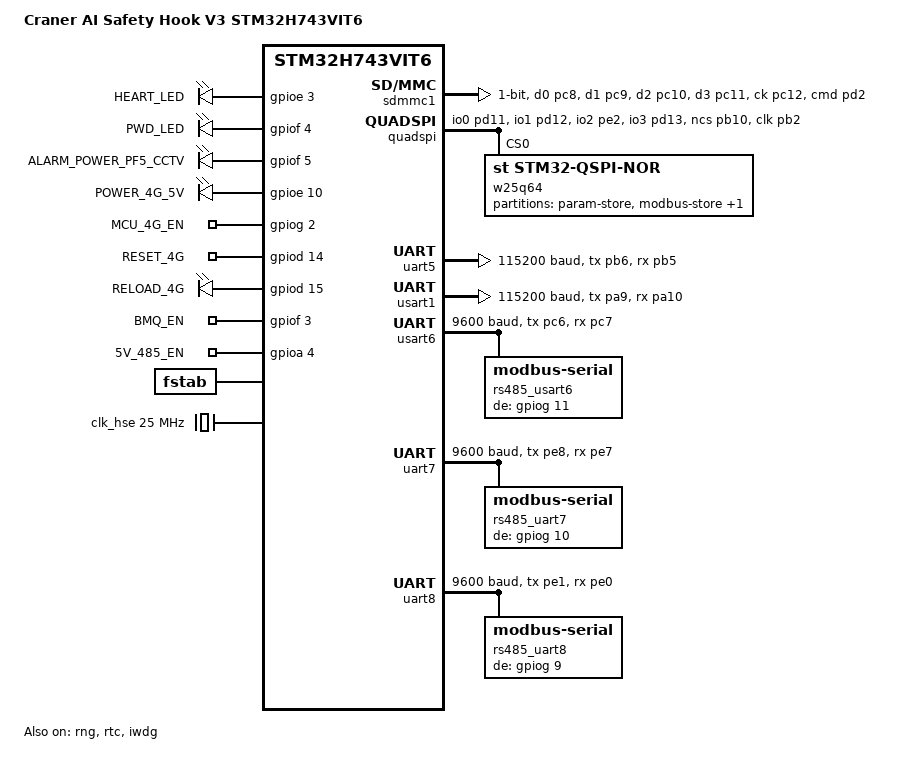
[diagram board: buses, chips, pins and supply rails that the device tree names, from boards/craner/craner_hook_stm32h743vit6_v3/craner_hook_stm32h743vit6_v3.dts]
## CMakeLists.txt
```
cmake_minimum_required(VERSION 3.20.0)

# The custom board definition lives inside this repository.
list(APPEND BOARD_ROOT ${CMAKE_CURRENT_SOURCE_DIR})

find_package(Zephyr REQUIRED HINTS $ENV{ZEPHYR_BASE})
project(craner_ai_safety_hook)

# HKCRC reusable Zephyr services (kept as git submodules so that every
# project can be updated independently).
add_subdirectory(module/system_health_service)
add_subdirectory(module/time_manager_service)
add_subdirectory(module/ota_manager_service)
add_subdirectory(module/fault_dump_service)
add_subdirectory(module/modbus_data_model)
add_subdirectory(module/device_param_server)
add_subdirectory(module/device_identity_service)
add_subdirectory(component/offline_log_service)

# Hook product applications.
add_subdirectory(app/hook_modbus)
add_subdirectory(app/hook_alarm)
add_subdirectory(app/hook_bms)
add_subdirectory(app/hook_heartbeat)
add_subdirectory(app/hook_rtc)
add_subdirectory(app/hook_4g)
add_subdirectory(app/hook_4g_cfg)
add_subdirectory(app/hook_4g_ntp)
add_subdirectory(app/hook_work_mode)
add_subdirectory(app/hook_health)
add_subdirectory(app/hook_ota)
add_subdirectory(app/hook_params)
add_subdirectory(app/log_manage_app)
add_subdirectory(app/rfid_sample)
add_subdirectory(app/rfid_uplink)

target_include_directories(app PRIVATE
	src
	app/hook_modbus
	app/hook_alarm
	app/hook_bms
	app/hook_heartbeat
	app/hook_rtc
	app/hook_4g
	app/hook_4g_cfg
	app/hook_4g_ntp
	app/hook_work_mode
	app/hook_health
	app/hook_ota
	app/hook_params
	app/rfid_uplink
)

target_sources(app PRIVATE
	src/main.c
	src/board.c
	src/hook_task.c
	src/hook_shell.c
	src/hook_system_state.c
	src/hook_4g_uart.c
	src/hook_console.c
	src/modbus_rtu_master.c
	src/modbus_rtu_slave.c
	src/pwr_stm32.c
)

target_link_libraries(app PRIVATE
	system_health_service
	time_manager_service
	ota_manager_service
	fault_dump_service
	modbus_data_model
	device_param_server
	device_identity_service
	offline_log_service
)
```

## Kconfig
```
source "Kconfig.zephyr"

rsource "module/system_health_service/Kconfig"
rsource "module/time_manager_service/Kconfig"
rsource "module/ota_manager_service/Kconfig"
rsource "module/fault_dump_service/Kconfig"
rsource "module/modbus_data_model/Kconfig"
rsource "module/device_param_server/Kconfig"
rsource "module/device_identity_service/Kconfig"
rsource "component/offline_log_service/Kconfig"
rsource "app/log_manage_app/Kconfig"
rsource "app/rfid_sample/Kconfig"
rsource "app/rfid_uplink/Kconfig"

menu "Craner AI safety hook application"

config HOOK_DEFAULT_DEVICE_NO
	string "Default factory device number"
	default ""
	help
	  Product default for device.no. Leave empty to use the hardware-derived
	  short ID. MQTT topics prepend "ais" to this value.

config HOOK_HOST_MODBUS_ENABLE
	bool "Enable host Modbus RTU slave"
	default y
	help
	  Enable the host-controller Modbus RTU slave on UART8.

config HOOK_MODBUS_SLAVE_ID
	int "Modbus RTU slave address on the host RS485 bus (uart8)"
	default 1
	range 1 247
	help
	  The hook controller is a Modbus RTU slave for the crane host
	  controller (上位机). The old firmware used FORWARD_SLAVE_ADDR = 1.

config HOOK_4G_ENABLE
	bool "4G / cloud channel (usr.cn transparent module on usart1)"
	default y
	help
	  Enables the usr.cn transparent bridge handling, the craner#AT command
	  surface and the binary 0xA5 cloud protocol.

config HOOK_4G_AUTO_RECONFIGURE
	bool "Automatically reconfigure the 4G module at boot"
	default n
	depends on HOOK_4G_ENABLE
	help
	  Compare and, when necessary, rewrite the 4G module configuration at
	  boot. Leave this disabled to preserve the module's existing settings.
	  Manual provisioning remains available through the shell command.

config HOOK_4G_NTP_ENABLE
	bool "Synchronize time from the 4G module NTP client"
	default y
	depends on HOOK_4G_ENABLE
	depends on TIME_MANAGER_SERVICE
	depends on TIME_SOURCE_RTC
	help
	  Enable the module's internal NTP client and read AT+CCLK once after
	  boot and then once per hour. A reading is trusted only when it is later
	  than 2026-10-01 00:00:00 UTC+8; trusted time is written to the RTC and
	  registered as TIME_SOURCE_NTP in time_manager_service.

config HOOK_4G_NTP_SERVERS
	string "4G module NTP server list"
	default "pool.ntp.org,ntp.aliyun.com,cn.pool.ntp.org,hk.pool.ntp.org"
	depends on HOOK_4G_NTP_ENABLE
	help
	  Comma-separated list passed to AT+NTPSVR. The module accepts up to
	  four servers.

config HOOK_4G_NTP_MODEM_INTERVAL_MIN
	int "4G module NTP synchronization interval (minutes)"
	default 10
	range 1 65535
	depends on HOOK_4G_NTP_ENABLE
	help
	  Interval passed to AT+NTPTM. This controls how often the module itself
	  synchronizes its internal clock with the NTP servers.

config HOOK_4G_NTP_READ_INTERVAL_S
	int "Application AT+CCLK read interval (seconds)"
	default 3600
	range 60 86400
	depends on HOOK_4G_NTP_ENABLE
	help
	  Interval between application-side AT+CCLK reads after the initial
	  post-boot read.

config HOOK_4G_NTP_QUERY_TIMEOUT_MS
	int "AT+CCLK query timeout (milliseconds)"
	default 5000
	range 1000 30000
	depends on HOOK_4G_NTP_ENABLE
	help
	  Maximum time allowed for the module to answer an AT+CCLK query.

config HOOK_HARD_STANDBY_ENABLE
	bool "Allow STM32 hard standby (RTC alarm B wakeup)"
	default y
	help
	  When enabled, the RTC power schedule may put the MCU into STM32
	  STANDBY and wake it up with RTC alarm B at the configured power-on
	  time. Requires trusted time from the 4G NTP client, host Modbus RTU,
	  or cloud calibration.

config HOOK_HOST_HEARTBEAT_ENABLE
	bool "Host heartbeat supervision (alarm-light supply)"
	default y
	help
	  Watches the host heartbeat counter (holding register 0x04, written by
	  the crane host controller or the cloud over MQTT). Silence >10 s
	  clears the alarm outputs; silence >60 s cuts the alarm-light supply
	  (PE5, FLASH_LIGHT_POWER_EN in the .ioc) and sets
	  ERR_HEARTBEAT_TIMEOUT. There is no relay on this board, the pin is the
	  supply enable of the sound & light alarm.

config HOOK_ALARM_MODULE_ENABLE
	bool "External sound & light alarm module on uart7"
	default y

config HOOK_BMS_ENABLE
	bool "Battery management system (BMS) polling on usart6"
	default y

config HOOK_HEARTBEAT_SILENCE_MS
	int "Host heartbeat silence timeout in milliseconds"
	default 10000
	range 1000 600000
	help
	  After this silence the LED/buzzer commands are cleared.

config HOOK_HEARTBEAT_TIMEOUT_MS
	int "Host heartbeat power-off timeout in milliseconds"
	default 60000
	range 1000 3600000
	help
	  After this silence the alarm-light supply (FLASH_LIGHT_POWER_EN) is
	  turned off and ERR_HEARTBEAT_TIMEOUT is set in the error code register.

config HOOK_LINK_TIMEOUT_MS
	int "Host heartbeat link timeout for the 4G quality statistics (ms)"
	default 20000
	range 500 60000
	help
	  The crane host controller writes the heartbeat counter once per second.
	  A gap between two received heartbeats longer than this value counts as
	  one timeout in the link quality statistics (offline log category "4g",
	  the "hook link" shell command and the cloud command craner#AT+LINK). The timeout is
	  counted once per outage, when the heartbeat comes back, so a long
	  outage produces one log line instead of one per period.

config HOOK_LOW_BATTERY_THRESHOLD
	int "Low battery warning threshold"
	default 2000
	range 0 10000
	help
	  Battery level register value below which the work mode becomes
	  MODE_LOW_BATTERY (2).

config HOOK_DEFAULT_ALARM_VOLUME
	int "Default sound & light module volume"
	default 30
	range 0 31

config HOOK_POWER_ON_TIME_HHMM
	int "Default daily power-on time (Beijing, high byte hour / low byte minute)"
	default 1536
	range 0 65535
	help
	  0x0600 = 06:00 (same default as the old firmware).

config HOOK_POWER_OFF_TIME_HHMM
	int "Default daily power-off time (Beijing, high byte hour / low byte minute)"
	default 5376
	range 0 65535
	help
	  0x1500 = 21:00 (same default as the old firmware).

config HOOK_OTA_ENABLE
	bool "HTTP OTA into the MCUboot secondary slot"
	default y
	select IMG_MANAGER
	help
	  Let the cloud trigger "craner#AT+OTADL=<url>": the 4G module switches
	  to HTTPD, downloads the image itself, the controller streams it into
	  the MCUboot slot1 partition and verifies it. "craner#AT+OTATEST" then
	  arms a test upgrade (boot_request_upgrade); MCUboot validates the
	  signature, swaps the slots and rolls back unless the new image is
	  confirmed ("craner#AT+OTACONFIRM").

config HOOK_OTA_REBOOT_DELAY_MS
	int "Delay between arming the test upgrade and rebooting in milliseconds"
	default 2000
	range 0 60000
	depends on HOOK_OTA_ENABLE
	help
	  Time for the "craner#OK" of AT+OTATEST (and the offline log entry) to
	  get out before the device resets into the MCUboot test image.


endmenu
```

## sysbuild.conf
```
# Build MCUboot together with the application.
SB_CONFIG_BOOTLOADER_MCUBOOT=y

# Standard MCUboot OTA layout: boot from slot0, download to slot1, then swap
# slot0 and slot1 using MCUboot move mode on reboot.
SB_CONFIG_MCUBOOT_MODE_SWAP_USING_MOVE=y

# Local development signing key (regenerate with imgtool; keys/ is ignored by
# git). Replace with a hardware-specific production key before release.
SB_CONFIG_BOOT_SIGNATURE_KEY_FILE="keys/craner_hook_root-rsa-2048.pem"
```

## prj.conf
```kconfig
# ============================================================
# craner_ai_safety_hook - Zephyr project configuration
# Refactored from the STM32CubeIDE + FreeRTOS firmware
# (crane_ai_satefy_hook.ioc / hook.zip).
#
# Framework: same structure as craner_ai_safety_car
#   boards/ + src/ + component/ + module/ + app/ + config/
# OTA is MCUboot (sysbuild) + MCUmgr over the debug console (SMP over shell).
# ============================================================

# --- Platform basics ---
CONFIG_BOOT_BANNER=y
CONFIG_GPIO=y
CONFIG_SERIAL=y
CONFIG_UART_INTERRUPT_DRIVEN=y
CONFIG_UART_ASYNC_API=y
CONFIG_DMA=y
CONFIG_UART_LINE_CTRL=n
CONFIG_CONSOLE=y
CONFIG_UART_CONSOLE=y
CONFIG_STDOUT_CONSOLE=y
CONFIG_PICOLIBC=y
CONFIG_HWINFO=y
CONFIG_REBOOT=y
# usart1 uses DMA on the STM32H7. Async DMA buffers are placed in the
# dedicated non-cached linker section so the Cortex-M7 D-cache cannot leave
# stale RX data or transmit stale TX bytes.
CONFIG_NOCACHE_MEMORY=y
# The 4G protocol keeps its existing 128 KiB application RX ring.
CONFIG_RING_BUFFER=y
CONFIG_RING_BUFFER_LARGE=y

# Link the application image into the MCUboot slot0 partition.
CONFIG_USE_DT_CODE_PARTITION=y

# --- Kernel / threads ---
CONFIG_NUM_PREEMPT_PRIORITIES=15
CONFIG_NUM_COOP_PRIORITIES=0
CONFIG_MAIN_STACK_SIZE=4096
CONFIG_SYSTEM_WORKQUEUE_STACK_SIZE=4096

# --- Watchdog (IWDG). The system health service owns the feed loop. ---
CONFIG_WATCHDOG=y
CONFIG_WDT_DISABLE_AT_BOOT=n
CONFIG_IWDG_STM32=y
# The effective IWDG timeout is installed by the health feed backend through
# wdt_install_timeout(): CONFIG_SYS_HEALTH_WDT_TIMEOUT_MS = 30000 ms (module
# default). It is not set here because that symbol depends on
# CONFIG_SYS_HEALTH_WATCHDOG_FEED_BACKEND, which is off in this product.
# Note: IWDG_STM32_INITIAL_TIMEOUT cannot be used for 30 s - its Kconfig range
# stops at 26214 ms (worst-case LSI); the runtime limit with the H7 LSI at
# 32 kHz is 32768 ms, so 30000 ms is accepted by the driver.

# --- RTC (LSE) / backup registers / alarm B (standby wakeup) ---
CONFIG_RTC=y
CONFIG_RTC_STM32=y
CONFIG_RTC_ALARM=y
CONFIG_BBRAM=y
CONFIG_BBRAM_STM32=y

# --- Flash and MCUboot image manager ---
CONFIG_FLASH=y
CONFIG_FLASH_MAP=y
CONFIG_STREAM_FLASH=y
CONFIG_IMG_MANAGER=y
CONFIG_MCUBOOT_IMG_MANAGER=y
CONFIG_MCUBOOT_GENERATE_CONFIRMED_IMAGE=y
# Erase slot1 sector by sector as the HTTP OTA image is streamed in: a full
# 768 KiB erase up front would stall the 4G thread (and the download) for many
# seconds before the first body byte could be written.
CONFIG_IMG_ERASE_PROGRESSIVELY=y

# --- Shell on uart5 (115200), logs routed through the shell ---
CONFIG_SHELL=y
CONFIG_SHELL_BACKEND_SERIAL=y
CONFIG_SHELL_PROMPT_UART="hook> "
CONFIG_SHELL_VT100_COMMANDS=y
CONFIG_SHELL_VT100_COLORS=y
CONFIG_SHELL_STACK_SIZE=4096

# --- Logging ---
CONFIG_LOG=y
CONFIG_LOG_RUNTIME_FILTERING=y
CONFIG_LOG_RUNTIME_DEFAULT_LEVEL=3
CONFIG_LOG_CMDS=y
CONFIG_LOG_DEFAULT_LEVEL=3
CONFIG_LOG_MAX_LEVEL=4
CONFIG_LOG_BACKEND_UART=n
CONFIG_SHELL_LOG_BACKEND=y
CONFIG_SHELL_BACKEND_SERIAL_LOG_LEVEL_INF=y
CONFIG_LOG_MODE_DEFERRED=y
CONFIG_LOG_BUFFER_SIZE=8192
CONFIG_LOG_PROCESS_THREAD_STACK_SIZE=4096
CONFIG_LOG_RATELIMIT=y
CONFIG_LOG_RATELIMIT_INTERVAL_MS=3000
CONFIG_APP_LOG_MANAGE=y

# --- MCUmgr over the shell (SMP over console, base64 framed) ---
# Upload with:
#   mcumgr --conntype serial --connstring dev=COM7,baud=115200 image upload \
#          build/craner_hook_stm32h743vit6/craner_ai_safety_hook/zephyr/zephyr.signed.bin
CONFIG_BASE64=y
CONFIG_CRC=y
CONFIG_NET_BUF=y
CONFIG_ZCBOR=y
CONFIG_MCUMGR=y
CONFIG_MCUMGR_GRP_IMG=y
CONFIG_MCUMGR_GRP_IMG_VERBOSE_ERR=y
CONFIG_MCUMGR_MGMT_NOTIFICATION_HOOKS=y
CONFIG_MCUMGR_GRP_IMG_STATUS_HOOKS=y
CONFIG_MCUMGR_GRP_OS=y
CONFIG_MCUMGR_TRANSPORT_SHELL=y
CONFIG_MCUMGR_TRANSPORT_SHELL_INPUT_TIMEOUT=y
CONFIG_MCUMGR_TRANSPORT_WORKQUEUE_STACK_SIZE=5120

# --- OTA manager service (image test / confirm / rollback protection) ---
CONFIG_OTA_MANAGER_SERVICE=y
CONFIG_OTA_MANAGER_SERVICE_TEST_TIMEOUT_S=3600

# --- System health service: field events + watchdog owner ---
CONFIG_SYS_HEALTH_SERVICE=y
CONFIG_SYS_HEALTH_SERVICE_SHELL=y
CONFIG_SYS_HEALTH_MAX_EVENTS=16
CONFIG_SYS_HEALTH_CHECK_INTERVAL_MS=100
# Watchdog feed backend. The IWDG is started from wdt_setup() by this backend,
# fed every second while the application check-in window is healthy, and left
# un-fed when a health event requests a controller reset. OTA suspends the
# check-in window through hook_health_ota_gate().
CONFIG_SYS_HEALTH_WATCHDOG_FEED_BACKEND=y
CONFIG_SYS_HEALTH_WDT_TIMEOUT_MS=30000
CONFIG_SYS_HEALTH_WATCHDOG_FEED_INTERVAL_MS=1000
CONFIG_SYS_HEALTH_REBOOT_ACTION_BACKEND=y
# Heart LED on heartbeat_led (PD10), driven from the health events:
#   normal           1 s on / 1 s off
#   1 offline event  200 ms blinks (priority times) + 2 s pause
# The startup self-test is off: it only delayed the real indication.
# The old hook_supervisor LED thread is gone; this backend replaces it.
CONFIG_SYS_HEALTH_LED_INDICATOR_BACKEND=y
CONFIG_SYS_HEALTH_NORMAL_ON_MS=1000
CONFIG_SYS_HEALTH_NORMAL_OFF_MS=1000
CONFIG_SYS_HEALTH_ERROR_BLINK_MS=200
CONFIG_SYS_HEALTH_ERROR_PAUSE_MS=2000
CONFIG_SYS_HEALTH_LED_SELF_TEST_MS=0
# No Ethernet on this product: the ICMP probe and network watchdog stay off.
CONFIG_SYS_HEALTH_ICMP_PROBE=n
CONFIG_SYS_HEALTH_STACK_USAGE_CHECK=y
CONFIG_SYS_HEALTH_STACK_USAGE_CHECK_INTERVAL_MS=30000
CONFIG_INIT_STACKS=y
CONFIG_THREAD_MONITOR=y
CONFIG_THREAD_STACK_INFO=y
CONFIG_THREAD_NAME=y

# --- Time manager (trusted time for the RTC power schedule) ---
CONFIG_TIME_MANAGER_SERVICE=y
CONFIG_TIME_SYNC_ZEPHYR_REALTIME=y
CONFIG_TIME_SOURCE_NTP=n
CONFIG_SNTP=n
CONFIG_TIME_SOURCE_RTC=y
CONFIG_TIME_RTC_BACKEND_INSIDE_RTC=y
CONFIG_TIME_RTC_TRUST_STORE=y
CONFIG_TIME_RTC_MIN_VALID_UNIX_TIME=1704067200
CONFIG_TIME_LOCAL_FORMAT=y
CONFIG_TIME_LOCAL_TIMEZONE_OFFSET_MINUTES=480

# --- Fault dump service: reset reason + retained fatal record ---
CONFIG_FAULT_DUMP_SERVICE=y
CONFIG_FAULT_DUMP_SERVICE_FATAL_RECORD=y
CONFIG_FAULT_DUMP_SERVICE_FATAL_HANDLER=y
CONFIG_FAULT_DUMP_SERVICE_RESET_REASON=y
CONFIG_FAULT_DUMP_SERVICE_RESET_REASON_STM32H7XX=y
CONFIG_FAULT_DUMP_SERVICE_SHELL=y
CONFIG_FAULT_DUMP_SERVICE_REMINDER=n
CONFIG_DEBUG_COREDUMP=y
CONFIG_DEBUG_COREDUMP_BACKEND_FLASH_PARTITION=y

# --- Hook product application defaults (product_71.conf overrides) ---
CONFIG_HOOK_MODBUS_SLAVE_ID=1

# --- Modbus register table (module/modbus_data_model) ---
# The hook register map is a named table with access flags and defaults; the
# Zephyr Modbus server adapter reads and writes this table directly. The
# persistent store keeps the power on/off schedule in the modbus-store
# partition.
CONFIG_MODBUS_DATA_MODEL=y
# The store lives on the on-board W25Q64 QSPI NOR flash (two 4 KiB banks,
# one NOR sector each), so the internal flash keeps its OTA layout.

# Zephyr Modbus RTU subsystem. Stage 2 uses the server on the host RS485
# port; the two client ports are migrated separately.
CONFIG_MODBUS=y
CONFIG_MODBUS_ROLE_CLIENT_SERVER=y
CONFIG_MODBUS_SERIAL=y
CONFIG_MODBUS_LOG_LEVEL_ERR=y
CONFIG_MODBUS_FP_EXTENSIONS=n
CONFIG_MODBUS_FC08_DIAGNOSTIC=n
# The existing product uses 8N1 for RTU, while upstream's parity-none
# default is 8N2.
CONFIG_MODBUS_NONCOMPLIANT_SERIAL_MODE=y

# --- Device identity + parameter server (persisted in the QSPI param-store) ---
# Hardware UID derived identity (short id, hostname, MQTT client id) plus a
# small persistent parameter set (factory device number, labels). Zephyr
# Settings/ZMS stores it in the param-store partition on the QSPI flash.
CONFIG_DEVICE_PARAM_SERVER=y
CONFIG_DEVICE_PARAM_SERVER_MAX_PARAMS=32
CONFIG_DEVICE_PARAM_SERVER_MAX_VALUE_LEN=64
CONFIG_DEVICE_IDENTITY_SERVICE=y
CONFIG_DEVICE_IDENTITY_USE_PARAM_SERVER=y
CONFIG_DEVICE_IDENTITY_SHELL=y
CONFIG_SETTINGS=y
CONFIG_ZMS=y
CONFIG_SETTINGS_ZMS=y
CONFIG_SETTINGS_ZMS_FORCE_MOUNT=y

# --- SD card + FATFS + curated offline event log (component/offline_log_service) --
# The SD seat is wired to SDMMC1 (see the board dts); logs are written under
# /SD:/olog/ and can be pulled off the card or over the MCUmgr file group.
CONFIG_FILE_SYSTEM=y
CONFIG_DISK_ACCESS=y
CONFIG_DISK_DRIVER_SDMMC=y
# Pause SDMMC_CK while the data FIFO is close to overrun/underrun. Without
# this, occasional RX overrun/TX underrun errors can surface as SD read/write
# failures while the offline-log writer is active.
CONFIG_SDMMC_STM32_HWFC=y
CONFIG_FAT_FILESYSTEM_ELM=y
CONFIG_FS_FATFS_LFN=y
CONFIG_FS_FATFS_LFN_MODE_STACK=y
CONFIG_FS_FATFS_MAX_LFN=64
CONFIG_FS_FATFS_REENTRANT=y
CONFIG_FS_FATFS_HAS_RTC=y
CONFIG_FS_FATFS_NUM_FILES=8
CONFIG_FS_FATFS_NUM_DIRS=8
CONFIG_OFFLINE_LOG_SERVICE=y
CONFIG_OFFLINE_LOG_SHELL=y
CONFIG_OFFLINE_LOG_MCUMGR=y
CONFIG_OFFLINE_LOG_WRITER_STACK_SIZE=4096
CONFIG_OFFLINE_LOG_FREE_SPACE_MIN_KB=8192
CONFIG_OFFLINE_LOG_MOUNT_MAX_ATTEMPTS=3
CONFIG_MCUMGR_GRP_FS=y
CONFIG_MCUMGR_GRP_FS_FILE_STATUS=y
CONFIG_MCUMGR_GRP_FS_MAX_FILE_SIZE_4GB=y
CONFIG_MCUMGR_GRP_FS_CHECKSUM_HASH=y
CONFIG_MCUMGR_GRP_FS_CHECKSUM_IEEE_CRC32=y
CONFIG_MCUMGR_GRP_FS_FILE_ACCESS_HOOK=y
# Download chunk size stays at the automatic value: the SMP-over-shell
# transport netbuf caps it at 384 bytes (the car could use 1024 because it
# runs the file group over Ethernet).
CONFIG_MCUMGR_GRP_FS_FILE_AUTOMATIC_IDLE_CLOSE_TIME=10000

# Zephyr Modbus RTU handles the three RS485 ports: host server on uart8 plus
# the BMS and alarm clients on usart6/uart7. No Modbus TCP is used.
```

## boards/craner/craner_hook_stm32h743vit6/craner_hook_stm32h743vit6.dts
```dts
/*
 * SPDX-License-Identifier: Apache-2.0
 *
 * Craner AI Safety Hook (tower-crane hook safety controller)
 * MCU : STM32H743VIT6 on the H743 core board with 4x RS485
 *       (board schematic in docs/), HSE 25 MHz, LSE 32.768 kHz
 *
 * Pin map is taken from crane_ai_satefy_hook.ioc of the original
 * STM32CubeIDE firmware:
 *   uart5  (PB6/PB5,  115200) : shell / console / printf
 *   usart1 (PA9/PA10, 115200) : 4G / cloud transparent module (usr.cn)
 *   usart2 (PD5/PD6,  9600)   : spare (initialised but unused in the old fw)
 *   usart3 (PD8/PD9,  115200) : spare (no GPS module on this product)
 *   usart6 (PC6/PC7,  9600)   : RS485 - BMS Modbus RTU master
 *   uart7  (PE8/PE7,  9600)   : RS485 - sound & light alarm module master
 *   uart8  (PE1/PE0,  9600)   : RS485 - host controller Modbus RTU slave
 *
 * RS485 ports have auto-direction transceivers on this board, so no
 * de-gpios property is required.
 */

/dts-v1/;
#include <st/h7/stm32h743Xi.dtsi>
#include <st/h7/stm32h743vitx-pinctrl.dtsi>
#include <zephyr/dt-bindings/gpio/gpio.h>
#include <zephyr/dt-bindings/dma/stm32_dma.h>

/ {
	model = "Craner AI Safety Hook STM32H743VIT6";
	compatible = "craner,craner-hook-stm32h743vit6";

	chosen {
		zephyr,sram = &sram0;
		zephyr,flash = &flash0;
		zephyr,code-partition = &slot0_partition;
		zephyr,console = &uart5;
		zephyr,shell-uart = &uart5;
		zephyr,dtcm = &dtcm;
		/* Persistent device parameters (Zephyr Settings/ZMS) live on the
		 * on-board QSPI flash, next to the persistent Modbus registers.
		 */
		zephyr,settings-partition = &app_storage_partition;
	};

	aliases {
		watchdog0 = &iwdg;
		rfid-uart = &uart8;
		/* LEDs */
		heartbeat-led = &heartbeat_led;
		pwr-led = &pwr_led;
		/* Hook actuator / power outputs */
		alarm-power-en = &alarm_power_en;
		power-3v = &power_3v;
		power-5v = &power_5v;
		modem-power = &modem_power;
		modem-reset = &modem_reset;
		modem-reload = &modem_reload;
	};

	gpio_outputs {
		compatible = "gpio-leds";

		/* PD10: error/heart LED driven by the LED animation engine. */
		heartbeat_led: heartbeat-led {
			gpios = <&gpiod 10 GPIO_ACTIVE_HIGH>;
			label = "HEART_LED";
		};

		/* PB3: mirrors the Modbus flash-light command register (driven by
		 * app/hook_alarm / app/hook_heartbeat, not the supply enable).
		 */
		pwr_led: pwr-led {
			gpios = <&gpiob 3 GPIO_ACTIVE_HIGH>;
			label = "PWD_LED";
		};

		/* PE5: supply enable of the sound & light alarm ("警报灯供电使能"
		 * on the schematic, FLASH_LIGHT_POWER_EN in the .ioc). The host
		 * heartbeat supervision cuts it after 60 s of silence.
		 */
		alarm_power_en: alarm-power-en {
			gpios = <&gpioe 5 GPIO_ACTIVE_HIGH>;
			label = "ALARM_POWER_EN";
		};

		/* Load switches (same pinout as the craner general board). */
		power_3v: power-3v {
			gpios = <&gpioe 6 GPIO_ACTIVE_HIGH>;
			label = "POWER_3V";
		};

		power_5v: power-5v {
			gpios = <&gpioc 13 GPIO_ACTIVE_HIGH>;
			label = "POWER_5V";
		};

		/* PA15: 4G module 3.3 V rail. */
		modem_power: modem-power {
			gpios = <&gpioa 15 GPIO_ACTIVE_HIGH>;
			label = "POWER_4G_3V3";
		};

		/* PD14 / PD15: 4G module reset and reload (active high). */
		modem_reset: modem-reset {
			gpios = <&gpiod 14 GPIO_ACTIVE_HIGH>;
			label = "RESET_4G";
		};

		modem_reload: modem-reload {
			gpios = <&gpiod 15 GPIO_ACTIVE_HIGH>;
			label = "RELOAD_4G";
		};
	};

	/* SD card (offline event log storage), FATFS mount point /SD:. */
	fstab {
		compatible = "zephyr,fstab";

		sd_mp: sd_mp {
			compatible = "zephyr,fstab,fatfs";
			disk-access;
			mount-point = "/SD:";
		};
	};
};

/*
 * SDMMC1 (PC8-PC12 + PD2): same pinout as the craner general H743 PCB and the
 * AI safety car, the SD card seat has no card-detect GPIO.
 *
 * Clock: PLL1Q is 48 MHz (960 MHz VCO / div-q 20), the same domain clock the
 * car board feeds to SDMMC, so the card uses the same clk-div 2 setting.
 */
&sdmmc1 {
	pinctrl-0 = <&sdmmc1_d0_pc8 &sdmmc1_d1_pc9
		     &sdmmc1_d2_pc10 &sdmmc1_d3_pc11
		     &sdmmc1_ck_pc12 &sdmmc1_cmd_pd2>;
	pinctrl-names = "default";
	disk-name = "SD";
	bus-width = <1>;
	clk-div = <2>;
	status = "okay";
};

/*
 * MCUboot layout (2 MiB internal flash, swap-using-move):
 *   0x08000000..0x0801FFFF : MCUboot (flash bank 1)
 *   0x08020000..0x080FFFFF : slot0 - running image (896 KiB, flash bank 1)
 *   0x08100000..0x081BFFFF : slot1 - update image  (768 KiB, flash bank 2)
 *   0x081C0000..0x081DFFFF : coredump partition
 *   0x081E0000..0x081FFFFF : app storage (reserved)
 *
 * slot1 is deliberately aligned to the flash bank 2 boundary: the running
 * application executes from bank 1, so an application-side OTA download can
 * erase/program slot1 in bank 2 without stalling the core (STM32H7 read
 * while write restriction). This is the same layout as craner_ai_safety_car.
 *
 * Everything that has to be written at runtime (persistent registers today,
 * device parameters / offline logs later) lives on the on-board W25Q64 QSPI
 * NOR flash, so the internal flash keeps its OTA layout untouched.
 */
&flash0 {
	partitions {
		compatible = "fixed-partitions";
		#address-cells = <1>;
		#size-cells = <1>;

		boot_partition: partition@0 {
			label = "mcuboot";
			reg = <0x00000000 0x00020000>;
		};

		slot0_partition: partition@20000 {
			label = "image-0";
			reg = <0x00020000 0x000e0000>;
		};

		slot1_partition: partition@100000 {
			label = "image-1";
			reg = <0x00100000 0x000c0000>;
		};

		app_storage_partition: partition@1c0000 {
			label = "app-storage";
			reg = <0x001c0000 0x00040000>;
		};
	};
};

/*
 * On-board W25Q64JVSSIQ (8 MiB QSPI NOR, U12 on the core board schematic:
 * PB10 NCS, PB2 CLK, PD11 IO0, PD12 IO1, PD13 IO2, PE2 IO3).
 *
 * Partitioning follows craner_ai_safety_car:
 *   0x000000..0x01FFFF : device parameter store (Zephyr Settings/ZMS)
 *   0x020000..0x021FFF : persistent Modbus registers (modbus_data_model),
 *                        two 4 KiB banks, i.e. one NOR sector per bank
 *   0x022000..0x7FFFFF : reserve (offline logs / future use)
 */
&quadspi {
	pinctrl-0 = <&quadspi_bk1_io0_pd11
		     &quadspi_bk1_io1_pd12
		     &quadspi_bk1_io2_pe2
		     &quadspi_bk1_io3_pd13
		     &quadspi_bk1_ncs_pb10
		     &quadspi_clk_pb2>;
	pinctrl-names = "default";
	status = "disabled";

	w25q64: qspi-nor-flash@0 {
		compatible = "st,stm32-qspi-nor";
		reg = <0>;
		/* st,stm32-qspi-nor size property is in BITS: 8 MiB = 64 Mbit. */
		size = <DT_SIZE_M(64)>;
		qspi-max-frequency = <40000000>;
		spi-bus-width = <4>;
		writeoc = "PP_1_1_4";
		status = "disabled";

		partitions {
			compatible = "fixed-partitions";
			#address-cells = <1>;
			#size-cells = <1>;

			param_store_partition: partition@0 {
				label = "param-store";
				reg = <0x00000000 0x00020000>;
			};

			modbus_store_partition: partition@20000 {
				label = "modbus-store";
				reg = <0x00020000 0x00002000>;
			};

			reserve_partition: partition@22000 {
				label = "reserve";
				reg = <0x00022000 0x007de000>;
			};
		};
	};
};

&clk_hse {
	clock-frequency = <DT_FREQ_M(25)>;
	status = "okay";
};

&clk_hsi48 {
	status = "okay";
};

&clk_lse {
	status = "okay";
};

/*
 * Clock tree copied from the old CubeMX firmware (and from the upstream
 * Zephyr nucleo_h743zi board, which also runs a H743 at 480 MHz):
 *
 *   HSE 25 MHz / div-m 5 = 5 MHz VCO input
 *   x mul-n 192          = 960 MHz VCO (wide range)
 *   / div-p 2            = 480 MHz SYSCLK (CPU, VOS0)
 *   / hpre 2             = 240 MHz HCLK/AXI
 *   / d?ppre 2           = 120 MHz APB1/2/3/4
 *
 * The Zephyr STM32H7 clock driver selects VOS0 before programming the PLL
 * and re-programs the flash wait states for the new HCLK, so only the PLL
 * and prescaler values below have to be kept consistent.
 */
&pll {
	div-m = <5>;
	mul-n = <192>;
	div-p = <2>;
	div-q = <20>;
	div-r = <2>;
	clocks = <&clk_hse>;
	status = "okay";
};

&rcc {
	clocks = <&pll>;
	clock-frequency = <DT_FREQ_M(480)>;
	d1cpre = <1>;
	hpre = <2>;
	d1ppre = <2>;
	d2ppre1 = <2>;
	d2ppre2 = <2>;
	d3ppre = <2>;
};

&pwr {
	power-supply = "ldo";
};

&rng {
	status = "okay";
};

/* Internal RTC on LSE. Alarm B wakes the MCU from STANDBY. */
&rtc {
	clocks = <&rcc STM32_CLOCK(APB4, 16)>,
		 <&rcc STM32_SRC_LSE RTC_SEL(1)>;
	status = "okay";
};

&bbram {
	status = "okay";
};

&iwdg {
	status = "okay";
};

&uart5 {
	pinctrl-0 = <&uart5_tx_pb6 &uart5_rx_pb5>;
	pinctrl-names = "default";
	current-speed = <115200>;
	status = "okay";
};

/* 4G / cloud transparent module. */
&usart1 {
	pinctrl-0 = <&usart1_tx_pa9 &usart1_rx_pa10>;
	pinctrl-names = "default";
	current-speed = <115200>;
	/* USART1 RX/TX requests are 41/42 on STM32H7. */
	dmas = <&dmamux1 0 42 (STM32_DMA_PERIPH_TX | STM32_DMA_PRIORITY_HIGH)>,
	       <&dmamux1 1 41 (STM32_DMA_PERIPH_RX | STM32_DMA_PRIORITY_HIGH)>;
	dma-names = "tx", "rx";
	status = "okay";
};

/* DMA controller feeding USART1 async RX/TX. */
&dma1 {
	status = "okay";
};

&dmamux1 {
	status = "okay";
};

/* Spare port (initialised but unused by the original firmware). */
&usart2 {
	pinctrl-0 = <&usart2_tx_pd5 &usart2_rx_pd6>;
	pinctrl-names = "default";
	current-speed = <9600>;
	status = "okay";
};

/* Spare port: the GPS module was removed from this product, the RTC is
 * calibrated over Modbus RTU / MQTT instead.
 */
&usart3 {
	pinctrl-0 = <&usart3_tx_pd8 &usart3_rx_pd9>;
	pinctrl-names = "default";
	current-speed = <115200>;
	status = "disabled";
};

/* RS485 - BMS Modbus RTU master. */
&usart6 {
	pinctrl-0 = <&usart6_tx_pc6 &usart6_rx_pc7>;
	pinctrl-names = "default";
	current-speed = <9600>;
	status = "okay";

	rs485_usart6: rs485-usart6 {
		compatible = "zephyr,modbus-serial";
		status = "okay";
	};
};

/* RS485 - sound & light alarm module Modbus RTU master. */
&uart7 {
	pinctrl-0 = <&uart7_tx_pe8 &uart7_rx_pe7>;
	pinctrl-names = "default";
	current-speed = <9600>;
	status = "okay";

	rs485_uart7: rs485-uart7 {
		compatible = "zephyr,modbus-serial";
		status = "okay";
	};
};

/* RS485 - host (上位机) Modbus RTU slave. */
&uart8 {
	pinctrl-0 = <&uart8_tx_pe1 &uart8_rx_pe0>;
	pinctrl-names = "default";
	current-speed = <9600>;
	status = "okay";

	rs485_uart8: rs485-uart8 {
		compatible = "zephyr,modbus-serial";
		status = "disabled";
	};
};
```

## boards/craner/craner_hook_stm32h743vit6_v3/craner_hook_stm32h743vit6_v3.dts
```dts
/*
 * SPDX-License-Identifier: Apache-2.0
 *
 * Craner AI Safety Hook V3 (tower-crane hook safety controller)
 * MCU : STM32H743VIT6 on the H743 core board with 4x RS485
 *       (board schematic in docs/), HSE 25 MHz, LSE 32.768 kHz
 *
 * Hardware: shared main board "AI Safety_General_Board_V2" plus the hook
 * connector board (V3 schematics dated 2026-09-10):
 *   uart5  (PB6/PB5,  115200) : shell / console / printf
 *   usart1 (PA9/PA10, 115200) : 4G / cloud transparent module (usr.cn)
 *   usart2 (PD5/PD6)          : laser connector on shared board; unused
 *   usart3 (PD8/PD9)          : GPS pad; unused by the hook product
 *   usart6 (PC6/PC7,  9600)   : 485 #2 - BMS Modbus RTU master
 *   uart7  (PE8/PE7,  9600)   : 485 #3 - sound & light alarm module master
 *   uart8  (PE1/PE0,  9600)   : 485 #4 - host controller Modbus RTU slave
 *
 * The hook connector board uses SN65LBC184 transceivers with nRE and DE tied
 * together. PG11/PG10/PG9 drive USART6/UART7/UART8 direction
 * (high = transmit, low = receive).
 *
 * Board power controls:
 *   PF3  BMQ_EN    12V_BMQ: mandatory hook connector-board supply
 *   PA4  5V_485_EN isolated 5 V rail for all RS485 transceivers
 *   PE10 5V_4G_EN  4G module 5 V rail
 *   PG2  MCU_4G_EN 4G module enable
 *   PF4  WQ_CT     12V_WQ bridge rail, shared with the PWD LED
 *   PF5  CCTV_CT   12V_CCTV rail used as the alarm-light supply
 */

/dts-v1/;
#include <st/h7/stm32h743Xi.dtsi>
#include <st/h7/stm32h743vitx-pinctrl.dtsi>
#include <zephyr/dt-bindings/gpio/gpio.h>
#include <zephyr/dt-bindings/dma/stm32_dma.h>

/ {
	model = "Craner AI Safety Hook V3 STM32H743VIT6";
	compatible = "craner,craner-hook-stm32h743vit6-v3";

	chosen {
		zephyr,sram = &sram0;
		zephyr,flash = &flash0;
		zephyr,code-partition = &slot0_partition;
		zephyr,console = &uart5;
		zephyr,shell-uart = &uart5;
		zephyr,dtcm = &dtcm;
		/* Persistent device parameters (Zephyr Settings/ZMS) live on the
		 * on-board QSPI flash, next to the persistent Modbus registers.
		 */
		zephyr,settings-partition = &param_store_partition;
	};

	aliases {
		watchdog0 = &iwdg;
		/* LEDs */
		heartbeat-led = &heartbeat_led;
		pwr-led = &pwr_led;
		/* Hook actuator / power outputs */
		alarm-power-en = &alarm_power_en;
		modem-power = &modem_power;
		modem-enable = &modem_enable;
		modem-reset = &modem_reset;
		modem-reload = &modem_reload;
		bmq-en = &bmq_en;
		rs485-en = &rs485_en;
	};

	gpio_outputs {
		compatible = "gpio-leds";

		/* PE3: first channel of the V3 main-board tri-colour LED. */
		heartbeat_led: heartbeat-led {
			gpios = <&gpioe 3 GPIO_ACTIVE_HIGH>;
			label = "HEART_LED";
		};

		/* PF4_WQ_CT: shared bridge supply and PWD LED control. It mirrors
		 * the Modbus flash-light command register (driven by
		 * app/hook_alarm / app/hook_heartbeat).
		 */
		pwr_led: pwr-led {
			gpios = <&gpiof 4 GPIO_ACTIVE_HIGH>;
			label = "PWD_LED";
		};

		/* PF5_CCTV_CT: supply enable of the sound & light alarm
		 * on the schematic, FLASH_LIGHT_POWER_EN in the .ioc). The host
		 * heartbeat supervision cuts it after 60 s of silence.
		 */
		alarm_power_en: alarm-power-en {
			gpios = <&gpiof 5 GPIO_ACTIVE_HIGH>;
			label = "ALARM_POWER_PF5_CCTV";
		};

		/* PE10: 4G module 5 V rail. */
		modem_power: modem-power {
			gpios = <&gpioe 10 GPIO_ACTIVE_HIGH>;
			label = "POWER_4G_5V";
		};

		/* PG2: separate module enable required by the V3 main board. */
		modem_enable: modem-enable {
			gpios = <&gpiog 2 GPIO_ACTIVE_HIGH>;
			label = "MCU_4G_EN";
		};

		/* PD14 / PD15: 4G module reset and reload (active high). */
		modem_reset: modem-reset {
			gpios = <&gpiod 14 GPIO_ACTIVE_HIGH>;
			label = "RESET_4G";
		};

		modem_reload: modem-reload {
			gpios = <&gpiod 15 GPIO_ACTIVE_HIGH>;
			label = "RELOAD_4G";
		};

		/* PF3: 12V_BMQ master rail. The hook connector board is powered
		 * from this rail, so it is enabled in an early SYS_INIT before
		 * application threads start.
		 */
		bmq_en: bmq-en {
			gpios = <&gpiof 3 GPIO_ACTIVE_HIGH>;
			label = "BMQ_EN";
		};

		/* PA4: isolated 5 V supply for all RS485 transceivers. */
		rs485_en: rs485-en {
			gpios = <&gpioa 4 GPIO_ACTIVE_HIGH>;
			label = "5V_485_EN";
		};
	};

	/* SD card (offline event log storage), FATFS mount point /SD:. */
	fstab {
		compatible = "zephyr,fstab";

		sd_mp: sd_mp {
			compatible = "zephyr,fstab,fatfs";
			disk-access;
			mount-point = "/SD:";
		};
	};
};

/*
 * SDMMC1 (PC8-PC12 + PD2): same pinout as the craner general H743 PCB and the
 * AI safety car, the SD card seat has no card-detect GPIO.
 *
 * Clock: PLL1Q is 48 MHz (960 MHz VCO / div-q 20), the same domain clock the
 * car board feeds to SDMMC, so the card uses the same clk-div 2 setting.
 */
&sdmmc1 {
	pinctrl-0 = <&sdmmc1_d0_pc8 &sdmmc1_d1_pc9
		     &sdmmc1_d2_pc10 &sdmmc1_d3_pc11
		     &sdmmc1_ck_pc12 &sdmmc1_cmd_pd2>;
	pinctrl-names = "default";
	disk-name = "SD";
	bus-width = <1>;
	clk-div = <2>;
	status = "okay";
};

/*
 * MCUboot layout (2 MiB internal flash, swap-using-move):
 *   0x08000000..0x0801FFFF : MCUboot (flash bank 1)
 *   0x08020000..0x080FFFFF : slot0 - running image (896 KiB, flash bank 1)
 *   0x08100000..0x081BFFFF : slot1 - update image  (768 KiB, flash bank 2)
 *   0x081C0000..0x081DFFFF : coredump partition
 *   0x081E0000..0x081FFFFF : app storage (reserved)
 *
 * slot1 is deliberately aligned to the flash bank 2 boundary: the running
 * application executes from bank 1, so an application-side OTA download can
 * erase/program slot1 in bank 2 without stalling the core (STM32H7 read
 * while write restriction). This is the same layout as craner_ai_safety_car.
 *
 * Everything that has to be written at runtime (persistent registers today,
 * device parameters / offline logs later) lives on the on-board W25Q64 QSPI
 * NOR flash, so the internal flash keeps its OTA layout untouched.
 */
&flash0 {
	partitions {
		compatible = "fixed-partitions";
		#address-cells = <1>;
		#size-cells = <1>;

		boot_partition: partition@0 {
			label = "mcuboot";
			reg = <0x00000000 0x00020000>;
		};

		slot0_partition: partition@20000 {
			label = "image-0";
			reg = <0x00020000 0x000e0000>;
		};

		slot1_partition: partition@100000 {
			label = "image-1";
			reg = <0x00100000 0x000c0000>;
		};

		coredump_partition: partition@1c0000 {
			label = "coredump-partition";
			reg = <0x001c0000 0x00020000>;
		};

		app_storage_partition: partition@1e0000 {
			label = "app-storage";
			reg = <0x001e0000 0x00020000>;
		};
	};
};

/*
 * On-board W25Q64JVSSIQ (8 MiB QSPI NOR, U12 on the core board schematic:
 * PB10 NCS, PB2 CLK, PD11 IO0, PD12 IO1, PD13 IO2, PE2 IO3).
 *
 * Partitioning follows craner_ai_safety_car:
 *   0x000000..0x01FFFF : device parameter store (Zephyr Settings/ZMS)
 *   0x020000..0x021FFF : persistent Modbus registers (modbus_data_model),
 *                        two 4 KiB banks, i.e. one NOR sector per bank
 *   0x022000..0x7FFFFF : reserve (offline logs / future use)
 */
&quadspi {
	pinctrl-0 = <&quadspi_bk1_io0_pd11
		     &quadspi_bk1_io1_pd12
		     &quadspi_bk1_io2_pe2
		     &quadspi_bk1_io3_pd13
		     &quadspi_bk1_ncs_pb10
		     &quadspi_clk_pb2>;
	pinctrl-names = "default";
	status = "okay";

	w25q64: qspi-nor-flash@0 {
		compatible = "st,stm32-qspi-nor";
		reg = <0>;
		/* st,stm32-qspi-nor size property is in BITS: 8 MiB = 64 Mbit. */
		size = <DT_SIZE_M(64)>;
		qspi-max-frequency = <40000000>;
		spi-bus-width = <4>;
		writeoc = "PP_1_1_4";
		status = "okay";

		partitions {
			compatible = "fixed-partitions";
			#address-cells = <1>;
			#size-cells = <1>;

			param_store_partition: partition@0 {
				label = "param-store";
				reg = <0x00000000 0x00020000>;
			};

			modbus_store_partition: partition@20000 {
				label = "modbus-store";
				reg = <0x00020000 0x00002000>;
			};

			reserve_partition: partition@22000 {
				label = "reserve";
				reg = <0x00022000 0x007de000>;
			};
		};
	};
};

&clk_hse {
	clock-frequency = <DT_FREQ_M(25)>;
	status = "okay";
};

&clk_hsi48 {
	status = "okay";
};

&clk_lse {
	status = "okay";
};

/*
 * Clock tree copied from the old CubeMX firmware (and from the upstream
 * Zephyr nucleo_h743zi board, which also runs a H743 at 480 MHz):
 *
 *   HSE 25 MHz / div-m 5 = 5 MHz VCO input
 *   x mul-n 192          = 960 MHz VCO (wide range)
 *   / div-p 2            = 480 MHz SYSCLK (CPU, VOS0)
 *   / hpre 2             = 240 MHz HCLK/AXI
 *   / d?ppre 2           = 120 MHz APB1/2/3/4
 *
 * The Zephyr STM32H7 clock driver selects VOS0 before programming the PLL
 * and re-programs the flash wait states for the new HCLK, so only the PLL
 * and prescaler values below have to be kept consistent.
 */
&pll {
	div-m = <5>;
	mul-n = <192>;
	div-p = <2>;
	div-q = <20>;
	div-r = <2>;
	clocks = <&clk_hse>;
	status = "okay";
};

&rcc {
	clocks = <&pll>;
	clock-frequency = <DT_FREQ_M(480)>;
	d1cpre = <1>;
	hpre = <2>;
	d1ppre = <2>;
	d2ppre1 = <2>;
	d2ppre2 = <2>;
	d3ppre = <2>;
};

&pwr {
	power-supply = "ldo";
};

&rng {
	status = "okay";
};

/* Internal RTC on LSE. Alarm B wakes the MCU from STANDBY. */
&rtc {
	clocks = <&rcc STM32_CLOCK(APB4, 16)>,
		 <&rcc STM32_SRC_LSE RTC_SEL(1)>;
	status = "okay";
};

&bbram {
	status = "okay";
};

&iwdg {
	status = "okay";
};

&uart5 {
	pinctrl-0 = <&uart5_tx_pb6 &uart5_rx_pb5>;
	pinctrl-names = "default";
	current-speed = <115200>;
	status = "okay";
};

/* 4G / cloud transparent module. */
&usart1 {
	pinctrl-0 = <&usart1_tx_pa9 &usart1_rx_pa10>;
	pinctrl-names = "default";
	current-speed = <115200>;
	/* USART1 RX/TX requests are 41/42 on STM32H7. */
	dmas = <&dmamux1 0 42 (STM32_DMA_PERIPH_TX | STM32_DMA_PRIORITY_HIGH)>,
	       <&dmamux1 1 41 (STM32_DMA_PERIPH_RX | STM32_DMA_PRIORITY_HIGH)>;
	dma-names = "tx", "rx";
	status = "okay";
};

/* DMA controller feeding USART1 async RX/TX. */
&dma1 {
	status = "okay";
};

&dmamux1 {
	status = "okay";
};

/* Laser connector on the shared board; not used by the hook product. */
&usart2 {
	pinctrl-0 = <&usart2_tx_pd5 &usart2_rx_pd6>;
	pinctrl-names = "default";
	current-speed = <9600>;
	status = "disabled";
};

/* Spare port: the GPS module was removed from this product, the RTC is
 * calibrated over Modbus RTU / MQTT instead.
 */
&usart3 {
	pinctrl-0 = <&usart3_tx_pd8 &usart3_rx_pd9>;
	pinctrl-names = "default";
	current-speed = <115200>;
	status = "disabled";
};

/* RS485 - BMS Modbus RTU master. */
&usart6 {
	pinctrl-0 = <&usart6_tx_pc6 &usart6_rx_pc7>;
	pinctrl-names = "default";
	current-speed = <9600>;
	status = "okay";

	rs485_usart6: rs485-usart6 {
		compatible = "zephyr,modbus-serial";
		de-gpios = <&gpiog 11 GPIO_ACTIVE_HIGH>;
		status = "okay";
	};
};

/* RS485 - sound & light alarm module Modbus RTU master. */
&uart7 {
	pinctrl-0 = <&uart7_tx_pe8 &uart7_rx_pe7>;
	pinctrl-names = "default";
	current-speed = <9600>;
	status = "okay";

	rs485_uart7: rs485-uart7 {
		compatible = "zephyr,modbus-serial";
		de-gpios = <&gpiog 10 GPIO_ACTIVE_HIGH>;
		status = "okay";
	};
};

/* RS485 - host (上位机) Modbus RTU slave. */
&uart8 {
	pinctrl-0 = <&uart8_tx_pe1 &uart8_rx_pe0>;
	pinctrl-names = "default";
	current-speed = <9600>;
	status = "okay";

	rs485_uart8: rs485-uart8 {
		compatible = "zephyr,modbus-serial";
		de-gpios = <&gpiog 9 GPIO_ACTIVE_HIGH>;
		status = "okay";
	};
};
```

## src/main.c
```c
/*
 * main.c - Zephyr application entry point.
 *
 * The old Core/Src/main.c only configured the clocks/peripherals and then
 * started the FreeRTOS scheduler; in Zephyr the clocks and peripheral
 * instances come from devicetree, so main() only has to bring the
 * application up. The IWDG is owned by the system health watchdog backend.
 */
#include <zephyr/kernel.h>

#include "board.h"

int main(void)
{
	init_app();

	return 0;
}
```

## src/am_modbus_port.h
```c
/*
 * am_modbus_port.h - Zephyr port configuration for the am_modbus library.
 *
 * The original library was written against FreeRTOS + STM32 HAL UART. This
 * port maps:
 *   - RTOS primitives -> Zephyr kernel objects (k_sem, k_timer, k_thread and
 *                        osal_notify_t for the FreeRTOS task notifications)
 *   - HAL UART        -> Zephyr UART driver (interrupt driven)
 *   - HAL GPIO        -> Zephyr gpio_dt_spec (optional RS485 direction pin)
 */
#ifndef THIRD_PARTY_MODBUS_LIB_CONFIG_MODBUSCONFIG_H_
#define THIRD_PARTY_MODBUS_LIB_CONFIG_MODBUSCONFIG_H_

#include <zephyr/kernel.h>
#include <zephyr/device.h>
#include <zephyr/drivers/uart.h>
#include <zephyr/drivers/gpio.h>
#include <stdint.h>
#include <stdbool.h>

#include "osal_zephyr.h"

/* Modbus TCP and USB CDC are not used on this product. */
//#define ENABLE_TCP 1
//#define ENABLE_USB_CDC 1

/* Interrupt driven RX replaces the original DMA receive-to-idle mode. */
//#define ENABLE_USART_DMA 1

/*
 * T35 is only a fallback frame gap; the port derives the real T3.5 window
 * from the configured baudrate (see modbus_uart_frame_gap_ms()).
 */
#define T35 5

#define MAX_BUFFER  256     /* communication buffer size in bytes */
#define TIMEOUT_MODBUS 1000 /* master query timeout in ms */

/* Three concurrent RTU handlers: host slave, BMS master, alarm master. */
#define MAX_M_HANDLERS 3
#define MAX_TELEGRAMS 6

#if ENABLE_TCP == 1
#define NUMBERTCPCONN   4
#define TCPAGINGCYCLES 1000
#endif

/*
 * UART abstraction used by the Modbus library. The application fills one
 * instance per physical RS485 port and passes it to ModbusInit().
 */
typedef struct
{
	const struct device *dev;           /* Zephyr UART device */
	uint32_t baudrate;                  /* e.g. 9600 */
	const struct gpio_dt_spec *en_gpio; /* RS485 direction pin (NULL = none) */
	uint8_t dataRX;                     /* scratch byte (API compatibility) */
	volatile uint8_t tx_busy;           /* TX busy flag */
} modbus_uart_t;

#endif /* THIRD_PARTY_MODBUS_LIB_CONFIG_MODBUSCONFIG_H_ */
```

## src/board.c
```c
/*
 * board.c - board initialization and application entry glue.
 *
 * Replaces Core/Src/gpio.c, Core/Src/main.c (application part) and the task
 * creation part of application/app_hook_task.c of the CubeMX firmware.
 */
#include "board.h"

#include "hook_task.h"
#include "system_def.h"

#include <errno.h>
#include <zephyr/init.h>
#include <zephyr/logging/log.h>

LOG_MODULE_REGISTER(hook_board, CONFIG_LOG_DEFAULT_LEVEL);

#if DT_HAS_ALIAS(power_3v)
static const struct gpio_dt_spec power_3v_gpio = GPIO_SPEC_ALIAS(power_3v);
#endif
#if DT_HAS_ALIAS(power_5v)
static const struct gpio_dt_spec power_5v_gpio = GPIO_SPEC_ALIAS(power_5v);
#endif
#if DT_HAS_ALIAS(modem_enable)
static const struct gpio_dt_spec modem_enable_gpio = GPIO_SPEC_ALIAS(modem_enable);
#endif
#if DT_HAS_ALIAS(bmq_en)
static const struct gpio_dt_spec bmq_en_gpio = GPIO_SPEC_ALIAS(bmq_en);
#endif
#if DT_HAS_ALIAS(rs485_en)
static const struct gpio_dt_spec rs485_en_gpio = GPIO_SPEC_ALIAS(rs485_en);
#endif
#if DT_NODE_EXISTS(DT_NODELABEL(rs485_usart6))
#if DT_NODE_HAS_PROP(DT_NODELABEL(rs485_usart6), de_gpios)
static const struct gpio_dt_spec rs485_usart6_de_gpio =
	GPIO_DT_SPEC_GET(DT_NODELABEL(rs485_usart6), de_gpios);
#endif
#endif
#if DT_NODE_EXISTS(DT_NODELABEL(rs485_uart7))
#if DT_NODE_HAS_PROP(DT_NODELABEL(rs485_uart7), de_gpios)
static const struct gpio_dt_spec rs485_uart7_de_gpio =
	GPIO_DT_SPEC_GET(DT_NODELABEL(rs485_uart7), de_gpios);
#endif
#endif
#if DT_NODE_EXISTS(DT_NODELABEL(rs485_uart8))
#if DT_NODE_HAS_PROP(DT_NODELABEL(rs485_uart8), de_gpios)
static const struct gpio_dt_spec rs485_uart8_de_gpio =
	GPIO_DT_SPEC_GET(DT_NODELABEL(rs485_uart8), de_gpios);
#endif
#endif

/*
 * Initial output levels copied from crane_ai_satefy_hook.ioc / MX_GPIO_Init():
 *   3V3 / 5V / 4G rails on where the board has controllable switches, heart
 *   LED on, alarm-light supply on, 4G reset/reload released, PWD_LED off.
 *
 * Pins whose state is not needed before application startup are configured
 * here. Board power enables needed earlier are handled by
 * board_early_power_init() and are intentionally not written twice.
 */
void board_gpio_init(void)
{
	/* Alarm-light supply on and heart LED on (the LED animation takes over). */
	(void)gpio_pin_configure_dt(&alarm_power_en_gpio, GPIO_OUTPUT_ACTIVE);
	(void)gpio_pin_configure_dt(&heartbeat_led_gpio, GPIO_OUTPUT_ACTIVE);

	/* PWD LED/supply starts low and is driven by app/hook_alarm from the
	 * combined light-command and siren state.
	 */
	(void)gpio_pin_configure_dt(&pwr_led_gpio, GPIO_OUTPUT_INACTIVE);

	/* 4G module reset / reload released (active high pulse only). */
	(void)gpio_pin_configure_dt(&modem_reset_gpio, GPIO_OUTPUT_INACTIVE);
	(void)gpio_pin_configure_dt(&modem_reload_gpio, GPIO_OUTPUT_INACTIVE);
}

static void board_v2_fixed_power_init(void)
{
	/* Power rails / enables: active at boot. */
#if DT_HAS_ALIAS(power_3v)
	(void)gpio_pin_configure_dt(&power_3v_gpio, GPIO_OUTPUT_ACTIVE);
#endif
#if DT_HAS_ALIAS(power_5v)
	(void)gpio_pin_configure_dt(&power_5v_gpio, GPIO_OUTPUT_ACTIVE);
#endif
}

static int board_rs485_direction_init(void)
{
#if DT_NODE_EXISTS(DT_NODELABEL(rs485_usart6))
#if DT_NODE_HAS_PROP(DT_NODELABEL(rs485_usart6), de_gpios)
	if (!gpio_is_ready_dt(&rs485_usart6_de_gpio)) {
		LOG_ERR("USART6 RS485 direction GPIO is not ready");
		return -ENODEV;
	}
	(void)gpio_pin_configure_dt(&rs485_usart6_de_gpio,
				    GPIO_OUTPUT_INACTIVE);
#endif
#endif

#if DT_NODE_EXISTS(DT_NODELABEL(rs485_uart7))
#if DT_NODE_HAS_PROP(DT_NODELABEL(rs485_uart7), de_gpios)
	if (!gpio_is_ready_dt(&rs485_uart7_de_gpio)) {
		LOG_ERR("UART7 RS485 direction GPIO is not ready");
		return -ENODEV;
	}
	(void)gpio_pin_configure_dt(&rs485_uart7_de_gpio,
				    GPIO_OUTPUT_INACTIVE);
#endif
#endif

#if DT_NODE_EXISTS(DT_NODELABEL(rs485_uart8))
#if DT_NODE_HAS_PROP(DT_NODELABEL(rs485_uart8), de_gpios)
	if (!gpio_is_ready_dt(&rs485_uart8_de_gpio)) {
		LOG_ERR("UART8 RS485 direction GPIO is not ready");
		return -ENODEV;
	}
	(void)gpio_pin_configure_dt(&rs485_uart8_de_gpio,
				    GPIO_OUTPUT_INACTIVE);
#endif
#endif

	return 0;
}

static int board_v3_fixed_power_init(void)
{
#if DT_HAS_ALIAS(bmq_en)
	if (!gpio_is_ready_dt(&bmq_en_gpio)) {
		LOG_ERR("BMQ power enable GPIO is not ready");
		return -ENODEV;
	}
	(void)gpio_pin_configure_dt(&bmq_en_gpio, GPIO_OUTPUT_ACTIVE);
#endif

#if DT_HAS_ALIAS(rs485_en)
	if (!gpio_is_ready_dt(&rs485_en_gpio)) {
		LOG_ERR("RS485 power enable GPIO is not ready");
		return -ENODEV;
	}
	(void)gpio_pin_configure_dt(&rs485_en_gpio, GPIO_OUTPUT_ACTIVE);
#endif

#if DT_HAS_ALIAS(modem_enable)
	if (!gpio_is_ready_dt(&modem_enable_gpio)) {
		LOG_ERR("4G module enable GPIO is not ready");
		return -ENODEV;
	}
	(void)gpio_pin_configure_dt(&modem_enable_gpio, GPIO_OUTPUT_ACTIVE);
#endif

	return 0;
}

static int board_modem_power_init(void)
{
	if (!gpio_is_ready_dt(&modem_power_gpio)) {
		LOG_ERR("4G module power GPIO is not ready");
		return -ENODEV;
	}
	(void)gpio_pin_configure_dt(&modem_power_gpio, GPIO_OUTPUT_ACTIVE);

	return 0;
}

/*
 * V3 has mandatory field-power enables that must be asserted before any
 * application thread or device probing starts. PF3_BMQ_EN powers the hook
 * connector board itself, so leaving it in its reset state makes every
 * downstream device inaccessible.
 *
 * The old board has no such aliases; its rails continue to be enabled by
 * board_gpio_init() from main().
 */
static int board_early_power_init(void)
{
	int ret = board_rs485_direction_init();

	if (ret < 0) {
		return ret;
	}

	board_v2_fixed_power_init();

	ret = board_v3_fixed_power_init();
	if (ret < 0) {
		return ret;
	}

	return board_modem_power_init();
}

SYS_INIT(board_early_power_init, POST_KERNEL, 45);

void init_app(void)
{
	LOG_INF("[BOOT] craner_ai_safety_hook (Zephyr)");
	LOG_INF("fw time: %s %s", __DATE__, __TIME__);

	board_gpio_init();
	init_app_hook_task();
}
```

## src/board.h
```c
/*
 * board.h - board GPIO aliases (devicetree driven) and application entry.
 */
#ifndef HOOK_BOARD_H
#define HOOK_BOARD_H

#include <stdint.h>

#include <zephyr/device.h>
#include <zephyr/drivers/gpio.h>
#include <zephyr/kernel.h>

#ifdef __cplusplus
extern "C" {
#endif

#define GPIO_SPEC_ALIAS(alias) GPIO_DT_SPEC_GET(DT_ALIAS(alias), gpios)

static const struct gpio_dt_spec heartbeat_led_gpio = GPIO_SPEC_ALIAS(heartbeat_led);
static const struct gpio_dt_spec pwr_led_gpio = GPIO_SPEC_ALIAS(pwr_led);
static const struct gpio_dt_spec alarm_power_en_gpio = GPIO_SPEC_ALIAS(alarm_power_en);
static const struct gpio_dt_spec modem_power_gpio = GPIO_SPEC_ALIAS(modem_power);
static const struct gpio_dt_spec modem_reset_gpio = GPIO_SPEC_ALIAS(modem_reset);
static const struct gpio_dt_spec modem_reload_gpio = GPIO_SPEC_ALIAS(modem_reload);

/* Logical helpers: "on" always means active for the signal. */
#define GPIO_WRITE(spec, on) gpio_pin_set_dt(&(spec), (on) ? 1 : 0)
#define GPIO_READ(spec) gpio_pin_get_dt(&(spec))

/* Milliseconds since boot (the old firmware used get_time_ms()). */
static inline uint32_t hook_get_time_ms(void)
{
	return (uint32_t)k_uptime_get_32();
}

void board_gpio_init(void);
void init_app(void);

#ifdef __cplusplus
}
#endif

#endif /* HOOK_BOARD_H */
```

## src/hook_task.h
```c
/*
 * hook_task.h - application thread creation entry.
 */
#ifndef HOOK_TASK_H
#define HOOK_TASK_H

#ifdef __cplusplus
extern "C" {
#endif

/* Replaces init_app_hook_task() of the CubeMX firmware. */
void init_app_hook_task(void);

#ifdef __cplusplus
}
#endif

#endif /* HOOK_TASK_H */
```
